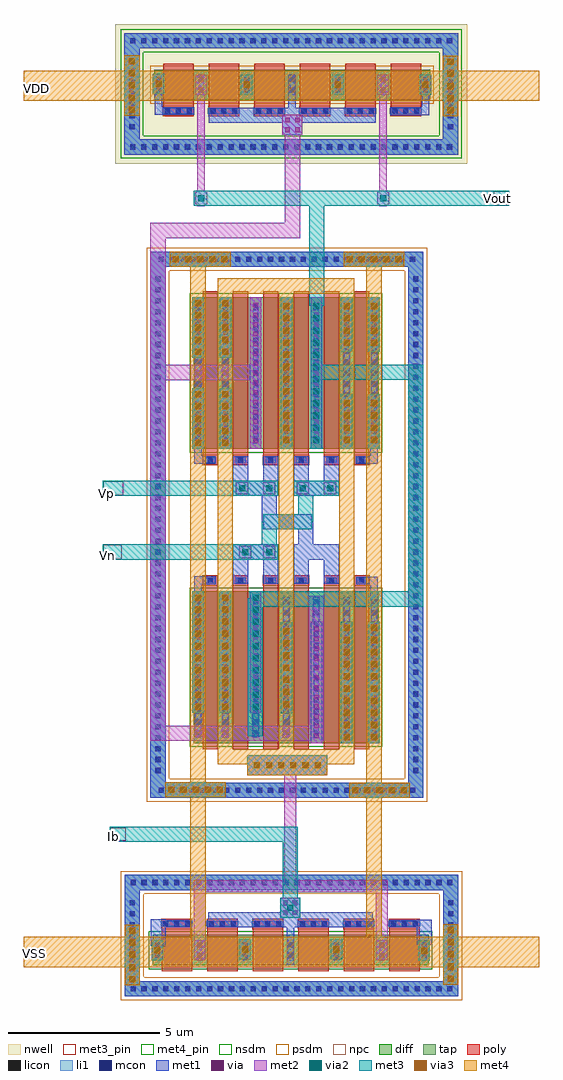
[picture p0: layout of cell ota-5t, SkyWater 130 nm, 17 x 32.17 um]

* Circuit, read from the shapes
.subckt ota-5t Ib VDD VSS Vn Vout Vp
XM1 n1 VSS VSS VSS sky130_fd_pr__nfet_01v8 w=1 l=1 m=2
XM2 n1 VSS VSS VSS sky130_fd_pr__nfet_01v8 w=5 l=0.5 m=4
XM3 VSS Ib n1 VSS sky130_fd_pr__nfet_01v8 w=1 l=1 m=2
XM4 Vout Vn n1 VSS sky130_fd_pr__nfet_01v8 w=5 l=0.5 m=4
XM5 n2 Vp n1 VSS sky130_fd_pr__nfet_01v8 w=5 l=0.5 m=4
XM6 Ib Ib VSS VSS sky130_fd_pr__nfet_01v8 w=1 l=1 m=2
XM7 Vout VDD VDD VDD sky130_fd_pr__pfet_01v8 w=1 l=1 m=2
XM8 VDD n2 Vout VDD sky130_fd_pr__pfet_01v8 w=1 l=1 m=2
XM9 n2 n2 VDD VDD sky130_fd_pr__pfet_01v8 w=1 l=1 m=2
.ends

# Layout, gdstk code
import gdstk
lib = gdstk.Library(unit=1e-6, precision=5e-09)
def R(c, l, rs):  # rectangles x0, y0, x1, y1
    for r in rs: c.add(gdstk.rectangle(r[:2], r[2:], *l))
def A(c, l, x, y, w, h, nx, ny, dx, dy):  # array of equal rectangles
    R(c, l, [(x+i*dx, y+j*dy, x+i*dx+w, y+j*dy+h) for i in range(nx) for j in range(ny)])
def P(c, l, *ps):  # polygons
    for p in ps: c.add(gdstk.Polygon(p, *l))
nwell = (64, 20)
diff = (65, 20)
tap = (65, 44)
poly = (66, 20)
licon = (66, 44)
li1 = (67, 20)
mcon = (67, 44)
met1 = (68, 20)
via = (68, 44)
met2 = (69, 20)
via2 = (69, 44)
met3_pin = (70, 16)
met3 = (70, 20)
via3 = (70, 44)
met4_pin = (71, 16)
met4 = (71, 20)
nsdm = (93, 44)
psdm = (94, 20)
npc = (95, 20)

nfet = lib.new_cell('nfet')
R(nfet, diff, [(0,0,6.1,5)])
A(nfet, poly, 0.3, -0.2, 0.5, 5.4, 6, 1, 1, 0)
A(nfet, poly, 0.3, 5.2, 0.5, 0.33, 6, 1, 1, 0)
A(nfet, licon, 0.065, 0.255, 0.17, 0.17, 1, 13, 0, 0.36)
A(nfet, licon, 0.965, 0.255, 0.17, 0.17, 5, 13, 1, 0.36)
A(nfet, licon, 5.865, 0.255, 0.17, 0.17, 1, 13, 0, 0.36)
A(nfet, licon, 0.465, 5.28, 0.17, 0.17, 6, 1, 1, 0)
A(nfet, li1, 0.965, 0.175, 0.17, 4.65, 5, 1, 1, 0)
A(nfet, li1, 0.385, 5.28, 0.33, 0.17, 6, 1, 1, 0)
R(nfet, li1, [(0.065,0.175,0.235,4.825), (5.865,0.175,6.035,4.825)])
A(nfet, mcon, 0.065, 0.255, 0.17, 0.17, 1, 13, 0, 0.36)
A(nfet, mcon, 0.965, 0.255, 0.17, 0.17, 5, 13, 1, 0.36)
A(nfet, mcon, 5.865, 0.255, 0.17, 0.17, 1, 13, 0, 0.36)
A(nfet, mcon, 0.465, 5.28, 0.17, 0.17, 6, 1, 1, 0)
A(nfet, met1, 0.935, 0.195, 0.23, 4.61, 5, 1, 1, 0)
A(nfet, met1, 0.365, 5.25, 0.37, 0.23, 6, 1, 1, 0)
R(nfet, met1, [(0.035,0.195,0.265,4.805), (5.835,0.195,6.065,4.805)])
R(nfet, nsdm, [(-0.125,-0.125,6.225,5.125)])
A(nfet, npc, 0.29, 5.19, 0.52, 0.35, 6, 1, 1, 0)

nfet_2 = lib.new_cell('nfet$2')
R(nfet_2, diff, [(0,0,6.1,5)])
A(nfet_2, poly, 0.3, -0.53, 0.5, 0.33, 6, 1, 1, 0)
A(nfet_2, poly, 0.3, -0.2, 0.5, 5.4, 6, 1, 1, 0)
A(nfet_2, licon, 0.465, -0.45, 0.17, 0.17, 6, 1, 1, 0)
A(nfet_2, licon, 0.065, 0.255, 0.17, 0.17, 1, 13, 0, 0.36)
A(nfet_2, licon, 0.965, 0.255, 0.17, 0.17, 5, 13, 1, 0.36)
A(nfet_2, licon, 5.865, 0.255, 0.17, 0.17, 1, 13, 0, 0.36)
A(nfet_2, li1, 0.385, -0.45, 0.33, 0.17, 6, 1, 1, 0)
A(nfet_2, li1, 0.965, 0.175, 0.17, 4.65, 5, 1, 1, 0)
R(nfet_2, li1, [(0.065,0.175,0.235,4.825), (5.865,0.175,6.035,4.825)])
A(nfet_2, mcon, 0.465, -0.45, 0.17, 0.17, 6, 1, 1, 0)
A(nfet_2, mcon, 0.065, 0.255, 0.17, 0.17, 1, 13, 0, 0.36)
A(nfet_2, mcon, 0.965, 0.255, 0.17, 0.17, 5, 13, 1, 0.36)
A(nfet_2, mcon, 5.865, 0.255, 0.17, 0.17, 1, 13, 0, 0.36)
A(nfet_2, met1, 0.365, -0.48, 0.37, 0.23, 6, 1, 1, 0)
A(nfet_2, met1, 0.935, 0.195, 0.23, 4.61, 5, 1, 1, 0)
R(nfet_2, met1, [(0.035,0.195,0.265,4.805), (5.835,0.195,6.065,4.805)])
R(nfet_2, nsdm, [(-0.125,-0.125,6.225,5.125)])
A(nfet_2, npc, 0.29, -0.54, 0.52, 0.35, 6, 1, 1, 0)

guard_ring_gen_2 = lib.new_cell('guard_ring_gen$2')
P(guard_ring_gen_2, tap, [(-0.5,-0.5),(-0.5,0),(10,0),(10,3),(0,3),(0,0),(-0.5,0),(-0.5,3.5),(10.5,3.5),(10.5,-0.5)])
A(guard_ring_gen_2, licon, -0.305, -0.335, 0.17, 0.17, 30, 2, 0.36, 3.5)
A(guard_ring_gen_2, licon, -0.335, 0.335, 0.17, 0.17, 1, 7, 0, 0.36)
A(guard_ring_gen_2, licon, 10.165, 0.335, 0.17, 0.17, 1, 7, 0, 0.36)
P(guard_ring_gen_2, li1, [(-0.5,-0.5),(-0.5,0),(10,0),(10,3),(0,3),(0,0),(-0.5,0),(-0.5,3.5),(10.5,3.5),(10.5,-0.5)])
A(guard_ring_gen_2, mcon, -0.305, -0.335, 0.17, 0.17, 30, 2, 0.36, 3.5)
A(guard_ring_gen_2, mcon, -0.335, 0.335, 0.17, 0.17, 1, 7, 0, 0.36)
A(guard_ring_gen_2, mcon, 10.165, 0.335, 0.17, 0.17, 1, 7, 0, 0.36)
P(guard_ring_gen_2, met1, [(-0.5,-0.5),(-0.5,0),(10,0),(10,3),(0,3),(0,0),(-0.5,0),(-0.5,3.5),(10.5,3.5),(10.5,-0.5)])

vias_gen_1 = lib.new_cell('vias_gen$1')
R(vias_gen_1, met1, [(0,0,0.4,0.4)])
R(vias_gen_1, via, [(0.125,0.125,0.275,0.275)])
R(vias_gen_1, met2, [(0,0,0.4,0.4)])
R(vias_gen_1, via2, [(0.1,0.1,0.3,0.3)])
R(vias_gen_1, met3, [(0,0,0.4,0.4)])

pfet = lib.new_cell('pfet')
R(pfet, nwell, [(-0.305,-0.72,9.405,1.38)])
R(pfet, diff, [(0,0,9.1,1)])
A(pfet, poly, 0.3, -0.53, 1, 0.33, 6, 1, 1.5, 0)
A(pfet, poly, 0.3, -0.2, 1, 1.4, 6, 1, 1.5, 0)
A(pfet, licon, 0.355, -0.45, 0.17, 0.17, 3, 1, 0.36, 0)
A(pfet, licon, 1.855, -0.45, 0.17, 0.17, 3, 1, 0.36, 0)
A(pfet, licon, 3.355, -0.45, 0.17, 0.17, 3, 1, 0.36, 0)
A(pfet, licon, 4.855, -0.45, 0.17, 0.17, 3, 1, 0.36, 0)
A(pfet, licon, 6.355, -0.45, 0.17, 0.17, 3, 1, 0.36, 0)
A(pfet, licon, 7.855, -0.45, 0.17, 0.17, 3, 1, 0.36, 0)
A(pfet, licon, 1.465, 0.235, 0.17, 0.17, 5, 2, 1.5, 0.36)
R(pfet, licon, [(0.065,0.235,0.235,0.405), (8.865,0.235,9.035,0.405), (0.065,0.595,0.235,0.765), (8.865,0.595,9.035,0.765)])
A(pfet, li1, 0.275, -0.45, 1.05, 0.17, 6, 1, 1.5, 0)
A(pfet, li1, 1.465, 0.155, 0.17, 0.69, 5, 1, 1.5, 0)
R(pfet, li1, [(0.065,0.155,0.235,0.845), (8.865,0.155,9.035,0.845)])
A(pfet, mcon, 0.355, -0.45, 0.17, 0.17, 3, 1, 0.36, 0)
A(pfet, mcon, 1.855, -0.45, 0.17, 0.17, 3, 1, 0.36, 0)
A(pfet, mcon, 3.355, -0.45, 0.17, 0.17, 3, 1, 0.36, 0)
A(pfet, mcon, 4.855, -0.45, 0.17, 0.17, 3, 1, 0.36, 0)
A(pfet, mcon, 6.355, -0.45, 0.17, 0.17, 3, 1, 0.36, 0)
A(pfet, mcon, 7.855, -0.45, 0.17, 0.17, 3, 1, 0.36, 0)
A(pfet, mcon, 1.465, 0.235, 0.17, 0.17, 5, 2, 1.5, 0.36)
R(pfet, mcon, [(0.065,0.235,0.235,0.405), (8.865,0.235,9.035,0.405), (0.065,0.595,0.235,0.765), (8.865,0.595,9.035,0.765)])
A(pfet, met1, 0.295, -0.48, 1.01, 0.23, 6, 1, 1.5, 0)
A(pfet, met1, 1.435, 0.175, 0.23, 0.65, 5, 1, 1.5, 0)
R(pfet, met1, [(0.035,0.175,0.265,0.825), (8.835,0.175,9.065,0.825)])
R(pfet, psdm, [(-0.125,-0.125,9.225,1.125)])
A(pfet, npc, 0.29, -0.54, 1.02, 0.35, 6, 1, 1.5, 0)

vias_gen_6 = lib.new_cell('vias_gen$6')
R(vias_gen_6, met2, [(0,0,0.4,0.4)])
R(vias_gen_6, via2, [(0.1,0.1,0.3,0.3)])
R(vias_gen_6, met3, [(0,0,0.4,0.4)])

nfet_3 = lib.new_cell('nfet$3')
R(nfet_3, diff, [(0,0,9.1,1)])
A(nfet_3, poly, 0.3, -0.2, 1, 1.4, 6, 1, 1.5, 0)
A(nfet_3, poly, 0.3, 1.2, 1, 0.33, 6, 1, 1.5, 0)
A(nfet_3, licon, 1.465, 0.235, 0.17, 0.17, 5, 2, 1.5, 0.36)
A(nfet_3, licon, 0.355, 1.28, 0.17, 0.17, 3, 1, 0.36, 0)
A(nfet_3, licon, 1.855, 1.28, 0.17, 0.17, 3, 1, 0.36, 0)
A(nfet_3, licon, 3.355, 1.28, 0.17, 0.17, 3, 1, 0.36, 0)
A(nfet_3, licon, 4.855, 1.28, 0.17, 0.17, 3, 1, 0.36, 0)
A(nfet_3, licon, 6.355, 1.28, 0.17, 0.17, 3, 1, 0.36, 0)
A(nfet_3, licon, 7.855, 1.28, 0.17, 0.17, 3, 1, 0.36, 0)
R(nfet_3, licon, [(0.065,0.235,0.235,0.405), (8.865,0.235,9.035,0.405), (0.065,0.595,0.235,0.765), (8.865,0.595,9.035,0.765)])
A(nfet_3, li1, 1.465, 0.155, 0.17, 0.69, 5, 1, 1.5, 0)
A(nfet_3, li1, 0.275, 1.28, 1.05, 0.17, 6, 1, 1.5, 0)
R(nfet_3, li1, [(0.065,0.155,0.235,0.845), (8.865,0.155,9.035,0.845)])
A(nfet_3, mcon, 1.465, 0.235, 0.17, 0.17, 5, 2, 1.5, 0.36)
A(nfet_3, mcon, 0.355, 1.28, 0.17, 0.17, 3, 1, 0.36, 0)
A(nfet_3, mcon, 1.855, 1.28, 0.17, 0.17, 3, 1, 0.36, 0)
A(nfet_3, mcon, 3.355, 1.28, 0.17, 0.17, 3, 1, 0.36, 0)
A(nfet_3, mcon, 4.855, 1.28, 0.17, 0.17, 3, 1, 0.36, 0)
A(nfet_3, mcon, 6.355, 1.28, 0.17, 0.17, 3, 1, 0.36, 0)
A(nfet_3, mcon, 7.855, 1.28, 0.17, 0.17, 3, 1, 0.36, 0)
R(nfet_3, mcon, [(0.065,0.235,0.235,0.405), (8.865,0.235,9.035,0.405), (0.065,0.595,0.235,0.765), (8.865,0.595,9.035,0.765)])
A(nfet_3, met1, 1.435, 0.175, 0.23, 0.65, 5, 1, 1.5, 0)
A(nfet_3, met1, 0.295, 1.25, 1.01, 0.23, 6, 1, 1.5, 0)
R(nfet_3, met1, [(0.035,0.175,0.265,0.825), (8.835,0.175,9.065,0.825)])
R(nfet_3, nsdm, [(-0.125,-0.125,9.225,1.125)])
A(nfet_3, npc, 0.29, 1.19, 1.02, 0.35, 6, 1, 1.5, 0)

vias_gen = lib.new_cell('vias_gen')
R(vias_gen, met1, [(0,0,0.38,0.66)])
R(vias_gen, via, [(0.115,0.095,0.265,0.245), (0.115,0.415,0.265,0.565)])
R(vias_gen, met2, [(0,0,0.38,0.66)])
R(vias_gen, via2, [(0.09,0.23,0.29,0.43)])
R(vias_gen, met3, [(0,0,0.38,0.66)])
R(vias_gen, via3, [(0.09,0.23,0.29,0.43)])
R(vias_gen, met4, [(0,0,0.38,0.66)])

vias_gen_11 = lib.new_cell('vias_gen$11')
R(vias_gen_11, met1, [(0,0,0.66,0.66)])
R(vias_gen_11, via, [(0.095,0.095,0.245,0.245), (0.415,0.095,0.565,0.245), (0.095,0.415,0.245,0.565), (0.415,0.415,0.565,0.565)])
R(vias_gen_11, met2, [(0,0,0.66,0.66)])

vias_gen_19 = lib.new_cell('vias_gen$19')
R(vias_gen_19, met1, [(0,0,0.38,4)])
A(vias_gen_19, via, 0.115, 0.165, 0.15, 0.15, 1, 12, 0, 0.32)
R(vias_gen_19, met2, [(0,0,0.38,4)])

vias_gen_13 = lib.new_cell('vias_gen$13')
R(vias_gen_13, met2, [(0,0,2.64,0.66)])
A(vias_gen_13, via2, 0.22, 0.23, 0.2, 0.2, 6, 1, 0.4, 0)
R(vias_gen_13, met3, [(0,0,2.64,0.66)])
A(vias_gen_13, via3, 0.22, 0.23, 0.2, 0.2, 6, 1, 0.4, 0)
R(vias_gen_13, met4, [(0,0,2.64,0.66)])

vias_gen_10 = lib.new_cell('vias_gen$10')
R(vias_gen_10, met1, [(0,0,0.66,0.66)])
R(vias_gen_10, via, [(0.095,0.095,0.245,0.245), (0.415,0.095,0.565,0.245), (0.095,0.415,0.245,0.565), (0.415,0.415,0.565,0.565)])
R(vias_gen_10, met2, [(0,0,0.66,0.66)])
R(vias_gen_10, via2, [(0.23,0.23,0.43,0.43)])
R(vias_gen_10, met3, [(0,0,0.66,0.66)])

vias_gen_17 = lib.new_cell('vias_gen$17')
R(vias_gen_17, met1, [(0,0,0.38,1.8)])
A(vias_gen_17, via, 0.115, 0.185, 0.15, 0.15, 1, 5, 0, 0.32)
R(vias_gen_17, met2, [(0,0,0.38,1.8)])
A(vias_gen_17, via2, 0.09, 0.2, 0.2, 0.2, 1, 4, 0, 0.4)
R(vias_gen_17, met3, [(0,0,0.38,1.8)])
A(vias_gen_17, via3, 0.09, 0.2, 0.2, 0.2, 1, 4, 0, 0.4)
R(vias_gen_17, met4, [(0,0,0.38,1.8)])

vias_gen_18 = lib.new_cell('vias_gen$18')
R(vias_gen_18, met1, [(0,0,0.38,4)])
A(vias_gen_18, via, 0.115, 0.165, 0.15, 0.15, 1, 12, 0, 0.32)
R(vias_gen_18, met2, [(0,0,0.38,4)])
A(vias_gen_18, via2, 0.09, 0.1, 0.2, 0.2, 1, 10, 0, 0.4)
R(vias_gen_18, met3, [(0,0,0.38,4)])
A(vias_gen_18, via3, 0.09, 0.1, 0.2, 0.2, 1, 10, 0, 0.4)
R(vias_gen_18, met4, [(0,0,0.38,4)])

vias_gen_12 = lib.new_cell('vias_gen$12')
R(vias_gen_12, met1, [(0,0,0.38,0.66)])
R(vias_gen_12, via, [(0.115,0.095,0.265,0.245), (0.115,0.415,0.265,0.565)])
R(vias_gen_12, met2, [(0,0,0.38,0.66)])

guard_ring_gen = lib.new_cell('guard_ring_gen')
P(guard_ring_gen, tap, [(-0.5,-0.5),(-0.5,0),(8,0),(8,17),(0,17),(0,0),(-0.5,0),(-0.5,17.5),(8.5,17.5),(8.5,-0.5)])
A(guard_ring_gen, licon, -0.225, -0.335, 0.17, 0.17, 24, 2, 0.36, 17.5)
A(guard_ring_gen, licon, -0.335, 0.315, 0.17, 0.17, 1, 46, 0, 0.36)
A(guard_ring_gen, licon, 8.165, 0.315, 0.17, 0.17, 1, 46, 0, 0.36)
P(guard_ring_gen, li1, [(-0.5,-0.5),(-0.5,0),(8,0),(8,17),(0,17),(0,0),(-0.5,0),(-0.5,17.5),(8.5,17.5),(8.5,-0.5)])
A(guard_ring_gen, mcon, -0.225, -0.335, 0.17, 0.17, 24, 2, 0.36, 17.5)
A(guard_ring_gen, mcon, -0.335, 0.315, 0.17, 0.17, 1, 46, 0, 0.36)
A(guard_ring_gen, mcon, 8.165, 0.315, 0.17, 0.17, 1, 46, 0, 0.36)
P(guard_ring_gen, met1, [(-0.5,-0.5),(-0.5,0),(8,0),(8,17),(0,17),(0,0),(-0.5,0),(-0.5,17.5),(8.5,17.5),(8.5,-0.5)])

vias_gen_15 = lib.new_cell('vias_gen$15')
R(vias_gen_15, met1, [(0,0,0.5,2)])
A(vias_gen_15, via, 0.175, 0.125, 0.15, 0.15, 1, 6, 0, 0.32)
R(vias_gen_15, met2, [(0,0,0.5,2)])
A(vias_gen_15, via2, 0.15, 0.1, 0.2, 0.2, 1, 5, 0, 0.4)
R(vias_gen_15, met3, [(0,0,0.5,2)])
A(vias_gen_15, via3, 0.15, 0.1, 0.2, 0.2, 1, 5, 0, 0.4)
R(vias_gen_15, met4, [(0,0,0.5,2)])

vias_gen_9 = lib.new_cell('vias_gen$9')
R(vias_gen_9, met1, [(0,0,0.38,5)])
A(vias_gen_9, via, 0.115, 0.185, 0.15, 0.15, 1, 15, 0, 0.32)
R(vias_gen_9, met2, [(0,0,0.38,5)])

vias_gen_7 = lib.new_cell('vias_gen$7')
R(vias_gen_7, met1, [(0,0,0.38,5)])
A(vias_gen_7, via, 0.115, 0.185, 0.15, 0.15, 1, 15, 0, 0.32)
R(vias_gen_7, met2, [(0,0,0.38,5)])
A(vias_gen_7, via2, 0.09, 0.2, 0.2, 0.2, 1, 12, 0, 0.4)
R(vias_gen_7, met3, [(0,0,0.38,5)])

vias_gen_21 = lib.new_cell('vias_gen$21')
R(vias_gen_21, met1, [(0,0,0.38,4)])
A(vias_gen_21, via, 0.115, 0.165, 0.15, 0.15, 1, 12, 0, 0.32)
R(vias_gen_21, met2, [(0,0,0.38,4)])
A(vias_gen_21, via2, 0.09, 0.1, 0.2, 0.2, 1, 10, 0, 0.4)
R(vias_gen_21, met3, [(0,0,0.38,4)])

vias_gen_20 = lib.new_cell('vias_gen$20')
R(vias_gen_20, met1, [(0,0,0.38,3)])
A(vias_gen_20, via, 0.115, 0.145, 0.15, 0.15, 1, 9, 0, 0.32)
R(vias_gen_20, met2, [(0,0,0.38,3)])
A(vias_gen_20, via2, 0.09, 0.2, 0.2, 0.2, 1, 7, 0, 0.4)
R(vias_gen_20, met3, [(0,0,0.38,3)])
A(vias_gen_20, via3, 0.09, 0.2, 0.2, 0.2, 1, 7, 0, 0.4)
R(vias_gen_20, met4, [(0,0,0.38,3)])

vias_gen_8 = lib.new_cell('vias_gen$8')
R(vias_gen_8, met1, [(0,0,0.38,5)])
A(vias_gen_8, via, 0.115, 0.185, 0.15, 0.15, 1, 15, 0, 0.32)
R(vias_gen_8, met2, [(0,0,0.38,5)])
A(vias_gen_8, via2, 0.09, 0.2, 0.2, 0.2, 1, 12, 0, 0.4)
R(vias_gen_8, met3, [(0,0,0.38,5)])
A(vias_gen_8, via3, 0.09, 0.2, 0.2, 0.2, 1, 12, 0, 0.4)
R(vias_gen_8, met4, [(0,0,0.38,5)])

vias_gen_16 = lib.new_cell('vias_gen$16')
R(vias_gen_16, met1, [(0,0,2,0.5)])
A(vias_gen_16, via, 0.125, 0.175, 0.15, 0.15, 6, 1, 0.32, 0)
R(vias_gen_16, met2, [(0,0,2,0.5)])
A(vias_gen_16, via2, 0.1, 0.15, 0.2, 0.2, 5, 1, 0.4, 0)
R(vias_gen_16, met3, [(0,0,2,0.5)])
A(vias_gen_16, via3, 0.1, 0.15, 0.2, 0.2, 5, 1, 0.4, 0)
R(vias_gen_16, met4, [(0,0,2,0.5)])

vias_gen_5 = lib.new_cell('vias_gen$5')
R(vias_gen_5, met1, [(0,0,0.38,2)])
A(vias_gen_5, via, 0.115, 0.125, 0.15, 0.15, 1, 6, 0, 0.32)
R(vias_gen_5, met2, [(0,0,0.38,2)])
A(vias_gen_5, via2, 0.09, 0.1, 0.2, 0.2, 1, 5, 0, 0.4)
R(vias_gen_5, met3, [(0,0,0.38,2)])
A(vias_gen_5, via3, 0.09, 0.1, 0.2, 0.2, 1, 5, 0, 0.4)
R(vias_gen_5, met4, [(0,0,0.38,2)])

nfet_4 = lib.new_cell('nfet$4')

vias_gen_22 = lib.new_cell('vias_gen$22')

ota_5t = lib.new_cell('ota-5t')
R(ota_5t, nwell, [(-2.985,10.495,-2.805,10.675), (-2.985,10.495,8.625,15.105), (8.445,14.925,8.625,15.105)])
R(ota_5t, met3_pin, [(-3.14,-11.82,-2.64,-11.39), (-3.38,-2.54,-2.77,-2.06), (-3.38,-0.43,-2.72,0.04), (9.5,9.13,9.99,9.59)])
R(ota_5t, met4_pin, [(-6,-15.98,11,-14.98), (-6,12.57,11,13.57)])
R(ota_5t, nsdm, [(-2.805,10.675,-2.68,10.8), (-2.805,10.675,8.445,11.425), (-2.805,11.425,-2.055,14.175), (7.695,11.425,8.445,14.175), (-2.805,14.175,8.445,14.925), (-2.18,14.175,-2.055,14.3), (7.695,14.175,7.82,14.3), (8.32,14.8,8.445,14.925)])
R(ota_5t, psdm, [(-2.795,-17.065,-2.045,-12.815), (-2.045,-17.065,7.705,-16.315), (7.705,-17.065,8.455,-12.815), (-2.045,-13.565,7.705,-12.815), (-1.945,-10.525,-1.195,7.725), (-1.195,-10.525,6.555,-9.775), (6.555,-10.525,7.305,7.725), (7.18,-10.525,7.305,-10.4), (-1.32,6.975,-1.195,7.1), (-1.195,6.975,6.555,7.725), (6.555,6.975,6.68,7.1), (6.555,6.975,6.68,7.1), (7.18,7.6,7.305,7.725)])
ota_5t.add(gdstk.FlexPath([(1.67,3.62),(-1.82,3.62)], 0.5, ends="flush", simple_path=True, layer=69, datatype=20))  # met2
ota_5t.add(gdstk.FlexPath([(-0.15,13.44),(-0.15,9.1)], 0.25, ends="flush", simple_path=True, layer=69, datatype=20))  # met2
ota_5t.add(gdstk.FlexPath([(5.85,13.43),(5.85,9.1)], 0.25, ends="flush", simple_path=True, layer=69, datatype=20))  # met2
ota_5t.add(gdstk.FlexPath([(2.86,11.85),(2.86,8.3),(-1.57,8.3),(-1.57,4.53)], 0.5, ends="flush", simple_path=True, layer=69, datatype=20))  # met2
ota_5t.add(gdstk.FlexPath([(3.53,-8.27),(-1.82,-8.27)], 0.5, ends="flush", simple_path=True, layer=69, datatype=20))  # met2
ota_5t.add(gdstk.FlexPath([(-1.57,4.58),(-1.57,-8.35)], 0.5, ends="flush", simple_path=True, layer=69, datatype=20))  # met2
ota_5t.add(gdstk.FlexPath([(-0.2,-15.76),(-0.2,-13.32),(5.8,-13.32),(5.8,-15.76)], 0.4, ends="flush", simple_path=True, layer=69, datatype=20))  # met2
ota_5t.add(gdstk.FlexPath([(2.79,-13.12),(2.79,-9.35)], 0.4, ends="flush", simple_path=True, layer=69, datatype=20))  # met2
ota_5t.add(gdstk.FlexPath([(3.65,-3.74),(3.65,-8.53)], 0.5, ends="flush", simple_path=True, layer=69, datatype=20))  # met2
ota_5t.add(gdstk.FlexPath([(6.73,3.63),(3.72,3.63)], 0.5, ends="flush", simple_path=True, layer=70, datatype=20))  # met3
ota_5t.add(gdstk.FlexPath([(3.66,5.81),(3.66,9.24)], 0.5, ends="flush", simple_path=True, layer=70, datatype=20))  # met3
ota_5t.add(gdstk.FlexPath([(6.93,3.88),(6.93,-4.1)], 0.5, ends="flush", simple_path=True, layer=70, datatype=20))  # met3
ota_5t.add(gdstk.FlexPath([(-3.16,-11.6),(1.14,-11.6)], 0.5, ends="flush", simple_path=True, layer=70, datatype=20))  # met3
ota_5t.add(gdstk.FlexPath([(1.14,-11.6),(2.79,-11.6),(2.79,-13.75)], 0.5, ends="flush", simple_path=True, layer=70, datatype=20))  # met3
ota_5t.add(gdstk.FlexPath([(-0.4,9.36),(10,9.36)], 0.5, ends="flush", simple_path=True, layer=70, datatype=20))  # met3
ota_5t.add(gdstk.FlexPath([(6.82,-3.85),(1.75,-3.85)], 0.5, ends="flush", simple_path=True, layer=70, datatype=20))  # met3
ota_5t.add(gdstk.FlexPath([(-3.4,-2.3),(0.9,-2.3)], 0.5, ends="flush", simple_path=True, layer=70, datatype=20))  # met3
ota_5t.add(gdstk.FlexPath([(1.9,-1.3),(3.5,-1.3),(3.5,-1.3)], 0.5, ends="flush", simple_path=True, layer=70, datatype=20))  # met3
ota_5t.add(gdstk.FlexPath([(3.3,-1.3),(3.3,-0.2)], 0.5, ends="flush", simple_path=True, layer=70, datatype=20))  # met3
ota_5t.add(gdstk.FlexPath([(2.9,-0.2),(4.4,-0.2)], 0.5, ends="flush", simple_path=True, layer=70, datatype=20))  # met3
ota_5t.add(gdstk.FlexPath([(2.4,-2.3),(0.9,-2.3)], 0.5, ends="flush", simple_path=True, layer=70, datatype=20))  # met3
ota_5t.add(gdstk.FlexPath([(2.4,-0.2),(0.9,-0.2)], 0.5, ends="flush", simple_path=True, layer=70, datatype=20))  # met3
ota_5t.add(gdstk.FlexPath([(2.1,-1.3),(2.1,-2.3)], 0.5, ends="flush", simple_path=True, layer=70, datatype=20))  # met3
ota_5t.add(gdstk.FlexPath([(-3.4,-0.2),(0.9,-0.2)], 0.5, ends="flush", simple_path=True, layer=70, datatype=20))  # met3
ota_5t.add(gdstk.FlexPath([(1.64,-3.83),(1.64,-8.37)], 0.5, ends="flush", simple_path=True, layer=70, datatype=20))  # met3
ota_5t.add(gdstk.FlexPath([(-0.25,1.34),(-0.25,0.74),(0.34,0.74)], 0.25, ends="flush", simple_path=True, layer=68, datatype=20))  # met1
ota_5t.add(gdstk.FlexPath([(5.55,1.3),(5.55,0.74),(4.95,0.74)], 0.25, ends="flush", simple_path=True, layer=68, datatype=20))  # met1
ota_5t.add(gdstk.FlexPath([(0.34,-3.23),(-0.25,-3.23),(-0.25,-3.72)], 0.25, ends="flush", simple_path=True, layer=68, datatype=20))  # met1
ota_5t.add(gdstk.FlexPath([(4.96,-3.24),(5.55,-3.24),(5.55,-3.82)], 0.25, ends="flush", simple_path=True, layer=68, datatype=20))  # met1
ota_5t.add(gdstk.FlexPath([(2.8,-14.18),(2.8,-15.9)], 0.25, ends="flush", simple_path=True, layer=68, datatype=20))  # met1
ota_5t.add(gdstk.FlexPath([(-0.38,12.24),(-1.55,12.24),(-1.55,12.93)], 0.25, ends="flush", simple_path=True, layer=68, datatype=20))  # met1
ota_5t.add(gdstk.FlexPath([(6.09,12.23),(7.25,12.23),(7.25,12.84)], 0.25, ends="flush", simple_path=True, layer=68, datatype=20))  # met1
ota_5t.add(gdstk.FlexPath([(0.9,-0.2),(2.4,-0.2)], 0.5, ends="flush", simple_path=True, layer=68, datatype=20))  # met1
ota_5t.add(gdstk.FlexPath([(2.9,-2.3),(4.4,-2.3)], 0.5, ends="flush", simple_path=True, layer=68, datatype=20))  # met1
ota_5t.add(gdstk.FlexPath([(2.9,-0.2),(4.4,-0.2)], 0.5, ends="flush", simple_path=True, layer=68, datatype=20))  # met1
ota_5t.add(gdstk.FlexPath([(2.4,-2.3),(0.9,-2.3)], 0.5, ends="flush", simple_path=True, layer=68, datatype=20))  # met1
ota_5t.add(gdstk.FlexPath([(1.9,-1.3),(3.5,-1.3)], 0.5, ends="flush", simple_path=True, layer=68, datatype=20))  # met1
ota_5t.add(gdstk.FlexPath([(2.1,-1.3),(2.1,-0.2)], 0.5, ends="flush", simple_path=True, layer=68, datatype=20))  # met1
ota_5t.add(gdstk.FlexPath([(3.3,-1.3),(3.3,-2.3)], 0.5, ends="flush", simple_path=True, layer=68, datatype=20))  # met1
ota_5t.add(gdstk.FlexPath([(3.15,0.05),(3.15,0.85)], 0.5, ends="flush", simple_path=True, layer=68, datatype=20))  # met1
ota_5t.add(gdstk.FlexPath([(4.15,0.05),(4.15,0.85)], 0.5, ends="flush", simple_path=True, layer=68, datatype=20))  # met1
ota_5t.add(gdstk.FlexPath([(1.15,0.05),(1.15,0.85)], 0.5, ends="flush", simple_path=True, layer=68, datatype=20))  # met1
ota_5t.add(gdstk.FlexPath([(2.15,0.05),(2.15,0.85)], 0.5, ends="flush", simple_path=True, layer=68, datatype=20))  # met1
ota_5t.add(gdstk.FlexPath([(1.15,-3.35),(1.15,-2.55)], 0.5, ends="flush", simple_path=True, layer=68, datatype=20))  # met1
ota_5t.add(gdstk.FlexPath([(2.15,-3.35),(2.15,-2.55)], 0.5, ends="flush", simple_path=True, layer=68, datatype=20))  # met1
ota_5t.add(gdstk.FlexPath([(3.15,-3.35),(3.15,-2.55)], 0.5, ends="flush", simple_path=True, layer=68, datatype=20))  # met1
ota_5t.add(gdstk.FlexPath([(4.15,-3.35),(4.15,-2.55)], 0.5, ends="flush", simple_path=True, layer=68, datatype=20))  # met1
ota_5t.add(gdstk.FlexPath([(0.1,12.1),(5.6,12.1)], 0.5, ends="flush", simple_path=True, layer=68, datatype=20))  # met1
ota_5t.add(gdstk.FlexPath([(2.85,13.44),(2.85,12.14)], 0.25, ends="flush", simple_path=True, layer=68, datatype=20))  # met1
ota_5t.add(gdstk.FlexPath([(0.08,-14.42),(5.51,-14.42)], 0.5, ends="flush", simple_path=True, layer=68, datatype=20))  # met1
ota_5t.add(gdstk.FlexPath([(-1.56,-15.29),(-1.56,-14.4)], 0.5, ends="flush", simple_path=True, layer=68, datatype=20))  # met1
ota_5t.add(gdstk.FlexPath([(7.21,-15.24),(7.21,-14.42)], 0.5, ends="flush", simple_path=True, layer=68, datatype=20))  # met1
ota_5t.add(gdstk.FlexPath([(-0.25,7.25),(-0.25,-15.5)], 0.5, ends="flush", simple_path=True, layer=71, datatype=20))  # met4
ota_5t.add(gdstk.FlexPath([(0.65,6.5),(0.65,-9)], 0.5, ends="flush", simple_path=True, layer=71, datatype=20))  # met4
ota_5t.add(gdstk.FlexPath([(5.55,7.25),(5.55,-15.5)], 0.5, ends="flush", simple_path=True, layer=71, datatype=20))  # met4
ota_5t.add(gdstk.FlexPath([(2.66,6.5),(2.66,-9)], 0.5, ends="flush", simple_path=True, layer=71, datatype=20))  # met4
ota_5t.add(gdstk.FlexPath([(4.65,6.5),(4.65,-9)], 0.5, ends="flush", simple_path=True, layer=71, datatype=20))  # met4
ota_5t.add(gdstk.FlexPath([(0.4,-9.05),(4.9,-9.05)], 0.5, ends="flush", simple_path=True, layer=71, datatype=20))  # met4
ota_5t.add(gdstk.FlexPath([(0.4,6.47),(4.9,6.47)], 0.5, ends="flush", simple_path=True, layer=71, datatype=20))  # met4
ota_5t.add(gdstk.FlexPath([(-6,13.07),(11,13.07)], 1, ends="flush", simple_path=True, layer=71, datatype=20))  # met4
ota_5t.add(gdstk.FlexPath([(-6,-15.48),(11,-15.48)], 1, ends="flush", simple_path=True, layer=71, datatype=20))  # met4
ota_5t.add(gdstk.Reference(nfet, (-0.4,-8.6)))
ota_5t.add(gdstk.Reference(nfet_2, (-0.4,1.1)))
ota_5t.add(gdstk.Reference(guard_ring_gen_2, (-2.17,-16.44)))
ota_5t.add(gdstk.Reference(vias_gen_1, (1.9,-0.4)))
ota_5t.add(gdstk.Reference(vias_gen_1, (1.9,-2.5)))
ota_5t.add(gdstk.Reference(vias_gen_1, (3.9,-0.4)))
ota_5t.add(gdstk.Reference(vias_gen_1, (3,-0.4)))
ota_5t.add(gdstk.Reference(vias_gen_1, (1.1,-2.5)))
ota_5t.add(gdstk.Reference(vias_gen_1, (1,-0.4)))
ota_5t.add(gdstk.Reference(pfet, (-1.7,12.6)))
ota_5t.add(gdstk.Reference(vias_gen_6, (-0.35,9.16)))
ota_5t.add(gdstk.Reference(vias_gen_6, (5.65,9.16)))
ota_5t.add(gdstk.Reference(nfet_3, (-1.75,-15.92)))
ota_5t.add(gdstk.Reference(vias_gen, (-1.74,12.8)))
ota_5t.add(gdstk.Reference(vias_gen, (1.16,12.77)))
ota_5t.add(gdstk.Reference(vias_gen, (4.17,12.77)))
ota_5t.add(gdstk.Reference(vias_gen, (7.05,12.77)))
ota_5t.add(gdstk.Reference(vias_gen, (4.12,-15.73)))
ota_5t.add(gdstk.Reference(vias_gen, (1.11,-15.73)))
ota_5t.add(gdstk.Reference(vias_gen, (7.01,-15.77)))
ota_5t.add(gdstk.Reference(vias_gen, (-1.78,-15.75)))
ota_5t.add(gdstk.Reference(vias_gen_11, (2.53,11.45)))
ota_5t.add(gdstk.Reference(vias_gen_19, (3.46,-8.6)))
ota_5t.add(gdstk.Reference(vias_gen_13, (1.37,-9.66)))
ota_5t.add(gdstk.Reference(vias_gen_10, (2.46,-14.35)))
ota_5t.add(gdstk.Reference(vias_gen_17, (5.36,1.1)))
ota_5t.add(gdstk.Reference(vias_gen_18, (-0.44,-7.6)))
ota_5t.add(gdstk.Reference(vias_gen_18, (5.36,-8.6)))
ota_5t.add(gdstk.Reference(vias_gen_17, (5.36,4.3)))
ota_5t.add(gdstk.Reference(vias_gen_12, (5.61,-15.75)))
ota_5t.add(gdstk.Reference(vias_gen_12, (-0.39,-15.75)))
ota_5t.add(gdstk.Reference(guard_ring_gen, (-1.32,-9.9)))
ota_5t.add(gdstk.Reference(vias_gen_15, (7.83,-16.56)))
ota_5t.add(gdstk.Reference(vias_gen_9, (1.46,1.1)))
ota_5t.add(gdstk.Reference(vias_gen_7, (3.46,1.1)))
ota_5t.add(gdstk.Reference(vias_gen_21, (1.46,-7.6)))
ota_5t.add(gdstk.Reference(vias_gen_17, (4.46,1.1)))
ota_5t.add(gdstk.Reference(vias_gen_17, (4.46,4.3)))
ota_5t.add(gdstk.Reference(vias_gen_18, (0.45,-7.6)))
ota_5t.add(gdstk.Reference(vias_gen_18, (4.46,-8.6)))
ota_5t.add(gdstk.Reference(vias_gen_20, (2.47,-7.61)))
ota_5t.add(gdstk.Reference(vias_gen_8, (2.47,1.1)))
ota_5t.add(gdstk.Reference(vias_gen_15, (7.82,12.06)))
ota_5t.add(gdstk.Reference(guard_ring_gen_2, (-2.18,11.3)))
ota_5t.add(gdstk.Reference(vias_gen_15, (-2.68,12.08)))
ota_5t.add(gdstk.Reference(vias_gen_15, (-2.67,-16.58)))
ota_5t.add(gdstk.Reference(vias_gen_16, (-1.33,-10.39)))
ota_5t.add(gdstk.Reference(vias_gen_16, (4.73,-10.4)))
ota_5t.add(gdstk.Reference(vias_gen_16, (4.55,7.1)))
ota_5t.add(gdstk.Reference(vias_gen_16, (-1.18,7.1)))
ota_5t.add(gdstk.Reference(vias_gen_12, (-0.34,12.77)))
ota_5t.add(gdstk.Reference(vias_gen_12, (5.66,12.77)))
ota_5t.add(gdstk.Reference(vias_gen_5, (0.46,1.1)))
ota_5t.add(gdstk.Reference(vias_gen_5, (0.46,4.1)))
ota_5t.add(gdstk.Reference(vias_gen_5, (-0.44,4.1)))
ota_5t.add(gdstk.Reference(vias_gen_5, (-0.44,1.1)))
ota_5t.add(gdstk.Reference(nfet_4, (-4.6,-18.22)))
ota_5t.add(gdstk.Reference(vias_gen_22, (-5.29,-20.3)))
ota_5t.add(gdstk.Label('VSS', (-5.63,-15.54), layer=71, texttype=5))
ota_5t.add(gdstk.Label('VDD', (-5.59,12.99), layer=71, texttype=5))
ota_5t.add(gdstk.Label('Ib', (-3.04,-11.68), layer=70, texttype=5))
ota_5t.add(gdstk.Label('Vn', (-3.23,-2.42), layer=70, texttype=5))
ota_5t.add(gdstk.Label('Vp', (-3.28,-0.36), layer=70, texttype=5))
ota_5t.add(gdstk.Label('Vout', (9.62,9.35), layer=70, texttype=5))

lib.write_gds('ota-5t.gds')
